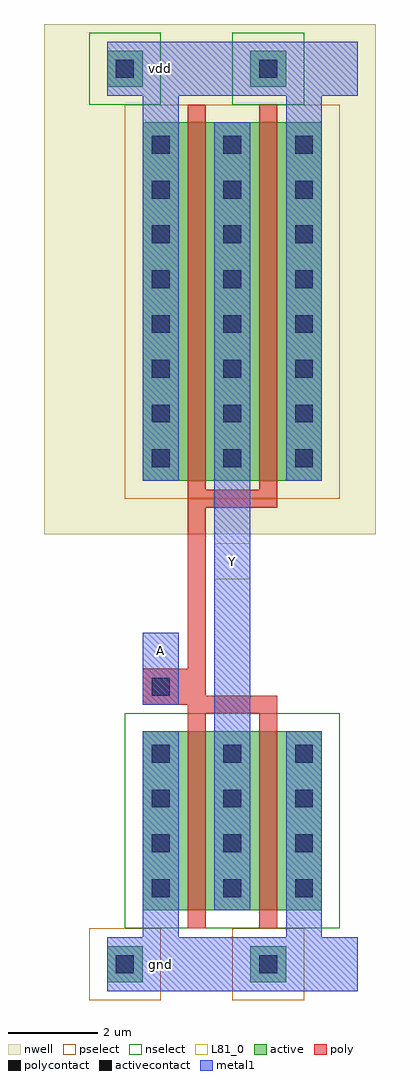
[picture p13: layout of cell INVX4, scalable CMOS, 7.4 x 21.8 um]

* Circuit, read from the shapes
.subckt INVX4 A Y gnd vdd
M1 Y A gnd gnd nfet w=4u l=0.4u m=2
M2 Y A vdd vdd pfet w=8u l=0.4u m=2
.ends

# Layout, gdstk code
import gdstk
lib = gdstk.Library(unit=1e-6, precision=1e-09)
def R(c, l, rs):  # rectangles x0, y0, x1, y1
    for r in rs: c.add(gdstk.rectangle(r[:2], r[2:], *l))
def A(c, l, x, y, w, h, nx, ny, dx, dy):  # array of equal rectangles
    R(c, l, [(x+i*dx, y+j*dy, x+i*dx+w, y+j*dy+h) for i in range(nx) for j in range(ny)])
nwell = (42, 0)
active = (43, 0)
pselect = (44, 0)
nselect = (45, 0)
poly = (46, 0)
polycontact = (47, 0)
activecontact = (48, 0)
metal1 = (49, 0)
L81_0 = (81, 0)

invx4 = lib.new_cell('INVX4')
R(invx4, nwell, [(-1.8,9.6,5.6,21)])
R(invx4, active, [(-0.4,-0.4,0.4,0.4), (2.8,-0.4,3.6,0.4), (0.4,1.2,4.4,5.2), (0.4,10.8,4.4,18.8), (-0.4,19.6,0.4,20.4), (2.8,19.6,3.6,20.4)])
R(invx4, pselect, [(-0.8,-0.8,0.8,0.8), (2.4,-0.8,4,0.8), (0,10.4,4.8,19.2)])
R(invx4, nselect, [(0,0.8,4.8,5.6), (-0.8,19.2,0.8,20.8), (2.4,19.2,4,20.8)])
R(invx4, poly, [(1.4,0.8,1.8,5.6), (3,0.8,3.4,5.6), (1.4,5.6,3.4,5.8), (0.4,5.8,3.4,6), (0.4,6,1.8,6.6), (1.4,6.6,1.8,10.2), (1.4,10.2,3.4,10.6), (1.4,10.6,1.8,19.2), (3,10.6,3.4,19.2)])
R(invx4, polycontact, [(0.6,6,1,6.4)])
A(invx4, activecontact, 0.6, 1.5, 0.4, 0.4, 3, 4, 1.6, 1)
A(invx4, activecontact, 0.6, 11.1, 0.4, 0.4, 3, 8, 1.6, 1)
R(invx4, activecontact, [(-0.2,-0.2,0.2,0.2), (3,-0.2,3.4,0.2), (-0.2,19.8,0.2,20.2), (3,19.8,3.4,20.2)])
R(invx4, metal1, [(-0.4,-0.6,5.2,0.6), (0.4,0.6,1.2,5.2), (3.6,0.6,4.4,5.2), (2,1.2,2.8,18.8), (0.4,5.8,1.2,7.4), (0.4,10.8,1.2,19.4), (3.6,10.8,4.4,19.4), (-0.4,19.4,5.2,20.6)])
R(invx4, L81_0, [(0.4,6.6,1.2,7.4), (2,8.6,2.8,9.4)])
invx4.add(gdstk.Label('vdd', (0.8,20), layer=109, texttype=0))
invx4.add(gdstk.Label('gnd', (0.8,0), layer=109, texttype=0))
invx4.add(gdstk.Label('Y', (2.4,9), layer=109, texttype=0))
invx4.add(gdstk.Label('A', (0.8,7), layer=109, texttype=0))

lib.write_gds('INVX4.gds')
